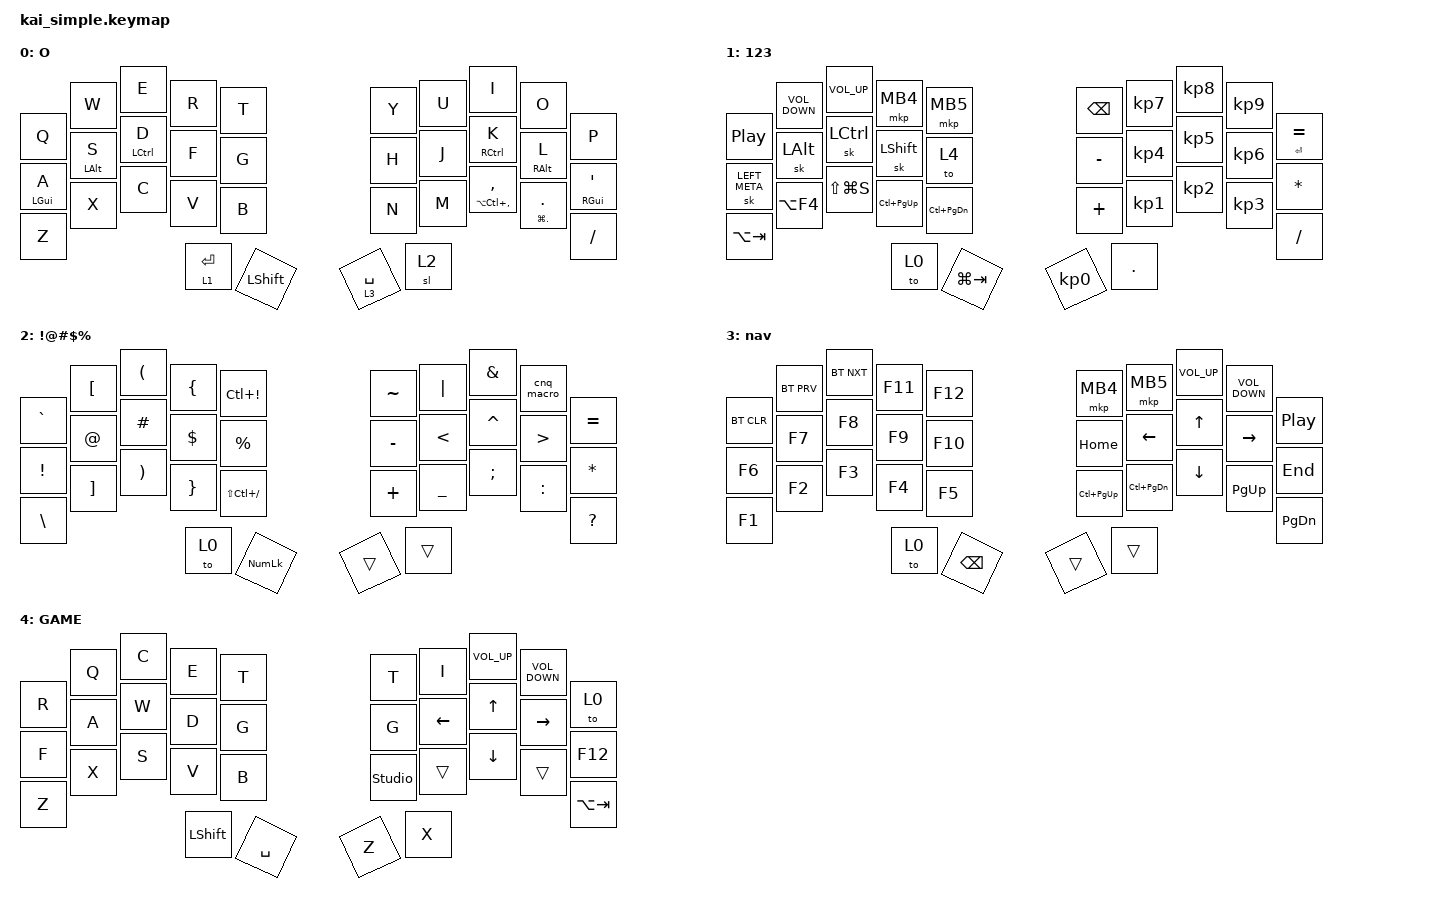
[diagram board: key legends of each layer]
// Copyright (c) 2022 The ZMK Contributors
// SPDX-License-Identifier: MIT

#include <dt-bindings/zmk/mouse.h>
#include <behaviors.dtsi>
#include <dt-bindings/zmk/bt.h>
#include <dt-bindings/zmk/keys.h>
#include <dt-bindings/zmk/pointing.h>

&mt {
    //  flavor = "tap-preferred";
    // tapping_term_ms = <200>;

    flavor = "balanced";
    tapping-term-ms = <170>;
};

&sk {
    quick-release;

    // ignore-modifiers;
};

&sl { release-after-ms = <1500>; };

/ {
    combos {
        compatible = "zmk,combos";

        combo_esc {
            timeout-ms = <50>;
            key-positions = <1 0>;
            bindings = <&kp ESC>;
        };

        combo_tab {
            timeout-ms = <50>;
            key-positions = <21 22>;
            bindings = <&kp TAB>;
        };

        combo_return {
            timeout-ms = <50>;
            key-positions = <27 28>;
            bindings = <&kp RETURN>;
        };

        combo_manager {
            timeout-ms = <50>;
            key-positions = <0 2>;
            bindings = <&kp LS(LC(ESCAPE))>;
        };

        combo_highlight {
            timeout-ms = <50>;
            key-positions = <16 19>;
            bindings = <&highlight_macro>;
        };

        combo_toggle1 {
            bindings = <&tog 1>;
            key-positions = <30 31>;
            layers = <0 1 2 3>;
        };

        combo_toggle3 {
            bindings = <&tog 3>;
            key-positions = <32 33>;
            layers = <0 1 2 3>;
        };

        combo_backspace_1 {
            bindings = <&kp BACKSPACE>;
            key-positions = <11 12>;
            timeout-ms = <30>;
            layers = <0 1 2 3>;
        };

        combo_delete_2 {
            bindings = <&kp DELETE>;
            key-positions = <12 13>;
            timeout-ms = <30>;
            layers = <0 1 2 3>;
        };

        combo_backspace_2 {
            bindings = <&kp BACKSPACE>;
            key-positions = <16 17>;
            layers = <0 1 2 3>;
            timeout-ms = <30>;
        };

        combo_delete_1 {
            bindings = <&kp DELETE>;
            key-positions = <17 18>;
            layers = <0 1 2 3>;
            timeout-ms = <30>;
        };

        combo_copy {
            bindings = <&kp LC(C)>;
            key-positions = <22 23>;
            layers = <0 1 2 3>;
        };
    };

    macros {
        cnq_macro: cnq_macro {
            compatible = "zmk,behavior-macro";
            #binding-cells = <0>;
            bindings = <&kp GRAVE &kp LBKT &kp GRAVE &kp RIGHT_BRACKET &kp LEFT_ARROW &kp LEFT_ARROW &kp DOWN_ARROW &kp DOWN_ARROW>;
            label = "CNQ_MACRO";
        };

        highlight_macro: highlight_macro {
            compatible = "zmk,behavior-macro";
            #binding-cells = <0>;
            bindings = <&kp HOME &kp LS(END)>;
            label = "HIGHLIGHT_MACRO";
        };
    };

    behaviors {
        holdtap_comma: holdtap_comma {
            compatible = "zmk,behavior-hold-tap";
            label = "HOLDTAP_COMMA";
            bindings = <&kp>, <&kp>;

            #binding-cells = <2>;
            tapping-term-ms = <200>;
            hold-trigger-key-positions = <29>;
            flavor = "hold-preferred";
        };

        holdtap_period: holdtap_period {
            compatible = "zmk,behavior-hold-tap";
            label = "HOLDTAP_PERIOD";
            bindings = <&kp>, <&kp>;

            #binding-cells = <2>;
            tapping-term-ms = <200>;
            hold-trigger-key-positions = <30>;
        };

        holdtap_equal_enter: holdtap_equal_enter {
            compatible = "zmk,behavior-hold-tap";
            label = "HOLDTAP_EQUAL_ENTER";
            bindings = <&kp>, <&kp>;

            #binding-cells = <2>;
            tapping-term-ms = <200>;
            hold-trigger-key-positions = <21>;
        };
    };

    keymap {
        compatible = "zmk,keymap";

        default_layer {
            display-name = "O";
            bindings = <
&kp Q           &kp W           &kp E               &kp R        &kp T           &kp Y        &kp U  &kp I                               &kp O                              &kp P
&mt LEFT_GUI A  &mt LEFT_ALT S  &mt LEFT_CONTROL D  &kp F        &kp G           &kp H        &kp J  &mt RIGHT_CONTROL K                 &mt RIGHT_ALT L                    &mt RIGHT_GUI SQT
&kp Z           &kp X           &kp C               &kp V        &kp B           &kp N        &kp M  &holdtap_comma LA(LC(COMMA)) COMMA  &holdtap_period LG(PERIOD) PERIOD  &kp FSLH
                                                    &lt 1 ENTER  &kp LEFT_SHIFT  &lt 3 SPACE  &sl 2
            >;
        };

        num_layer {
            display-name = "123";
            bindings = <
&kp C_PLAY_PAUSE  &kp C_VOLUME_DOWN  &kp C_VOLUME_UP   &mkp MB4         &mkp MB5           &kp BACKSPACE  &kp KP_N7  &kp KP_N8  &kp KP_N9  &holdtap_equal_enter ENTER EQUAL
&sk LEFT_META     &sk LEFT_ALT       &sk LEFT_CONTROL  &sk LEFT_SHIFT   &to 4              &kp MINUS      &kp KP_N4  &kp KP_N5  &kp KP_N6  &kp ASTERISK
&kp LA(TAB)       &kp LA(F4)         &kp LS(LG(S))     &kp LC(PAGE_UP)  &kp LC(PAGE_DOWN)  &kp PLUS       &kp KP_N1  &kp KP_N2  &kp KP_N3  &kp FSLH
                                                       &to 0            &kp LG(TAB)        &kp KP_N0      &kp DOT
            >;
        };

        symbol_layer {
            display-name = "!@#$%";
            bindings = <
&kp GRAVE        &kp LEFT_BRACKET   &kp LEFT_PARENTHESIS   &kp LEFT_BRACE   &kp LC(EXCLAMATION)  &kp TILDE  &kp PIPE        &kp AMPERSAND  &cnq_macro        &kp EQUAL
&kp EXCLAMATION  &kp AT_SIGN        &kp HASH               &kp DOLLAR       &kp PERCENT          &kp MINUS  &kp LESS_THAN   &kp CARET      &kp GREATER_THAN  &kp ASTERISK
&kp BACKSLASH    &kp RIGHT_BRACKET  &kp RIGHT_PARENTHESIS  &kp RIGHT_BRACE  &kp LS(LC(SLASH))    &kp PLUS   &kp UNDERSCORE  &kp SEMICOLON  &kp COLON         &kp QUESTION
                                                           &to 0            &kp KP_NUM           &trans     &trans
            >;
        };

        nav_layer {
            display-name = "nav";
            bindings = <
&bt BT_CLR  &bt BT_PRV  &bt BT_NXT  &kp F11  &kp F12        &mkp MB4         &mkp MB5           &kp C_VOLUME_UP  &kp C_VOLUME_DOWN  &kp C_PLAY_PAUSE
&kp F6      &kp F7      &kp F8      &kp F9   &kp F10        &kp HOME         &kp LEFT           &kp UP           &kp RIGHT          &kp END
&kp F1      &kp F2      &kp F3      &kp F4   &kp F5         &kp LC(PAGE_UP)  &kp LC(PAGE_DOWN)  &kp DOWN         &kp PAGE_UP        &kp PAGE_DOWN
                                    &to 0    &kp BACKSPACE  &trans           &trans
            >;
        };

        gaming_layer {
            display-name = "GAME";
            bindings = <
&kp R  &kp Q  &kp C  &kp E           &kp T      &kp T           &kp I     &kp C_VOLUME_UP  &kp C_VOLUME_DOWN  &to 0
&kp F  &kp A  &kp W  &kp D           &kp G      &kp G           &kp LEFT  &kp UP           &kp RIGHT          &kp F12
&kp Z  &kp X  &kp S  &kp V           &kp B      &studio_unlock  &trans    &kp DOWN         &trans             &kp LA(TAB)
                     &kp LEFT_SHIFT  &kp SPACE  &kp Z           &kp X
            >;
        };
    };
};
